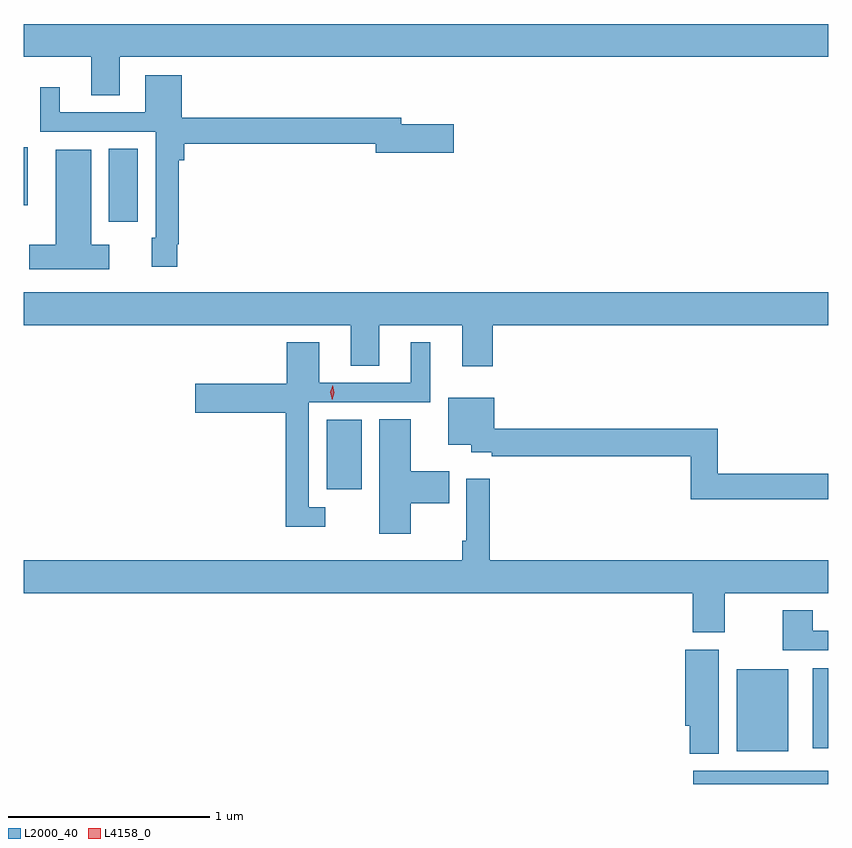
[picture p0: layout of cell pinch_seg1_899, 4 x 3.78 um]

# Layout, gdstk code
import gdstk
lib = gdstk.Library(unit=1e-6, precision=1e-09)
def R(c, l, rs):  # rectangles x0, y0, x1, y1
    for r in rs: c.add(gdstk.rectangle(r[:2], r[2:], *l))
def P(c, l, *ps):  # polygons
    for p in ps: c.add(gdstk.Polygon(p, *l))
L2000_40 = (2000, 40)
L4158_0 = (4158, 0)

pinch_seg1_899 = lib.new_cell('pinch_seg1_899')
R(pinch_seg1_899, L2000_40, [(307.449,534.799,308.12,534.864), (307.664,534.962,307.921,535.369), (308.042,534.977,308.12,535.375), (305.627,536.264,305.8,536.608), (304.544,537.594,304.687,537.956), (304.12,537.674,304.141,537.964)])
P(pinch_seg1_899, L2000_40, [(304.597,538.412),(308.12,538.412),(308.12,538.576),(304.12,538.576),(304.12,538.412),(304.457,538.412),(304.457,538.222),(304.597,538.222)],
  [(304.885,537.481),(304.892,537.481),(304.892,537.899),(304.919,537.899),(304.919,537.982),(305.87,537.982),(305.87,537.935),(306.259,537.935),(306.259,538.077),(305.998,538.077),(305.998,538.111),(304.906,538.111),(304.906,538.321),(304.724,538.321),(304.724,538.137),(304.3,538.137),(304.3,538.261),(304.202,538.261),(304.202,538.041),(304.776,538.041),(304.776,537.513),(304.757,537.513),(304.757,537.369),(304.885,537.369)],
  [(304.546,537.478),(304.456,537.478),(304.456,537.952),(304.28,537.952),(304.28,537.478),(304.149,537.478),(304.149,537.356),(304.546,537.356)],
  [(306.452,537.08),(308.12,537.08),(308.12,537.244),(304.12,537.244),(304.12,537.08),(305.747,537.08),(305.747,536.878),(305.887,536.878),(305.887,537.08),(306.299,537.08),(306.299,536.874),(306.452,536.874)],
  [(305.62,536.175),(305.538,536.175),(305.538,536.697),(306.142,536.697),(306.142,536.995),(306.044,536.995),(306.044,536.793),(305.59,536.793),(305.59,536.995),(305.429,536.995),(305.429,536.787),(304.974,536.787),(304.974,536.645),(305.422,536.645),(305.422,536.078),(305.62,536.078)],
  [(308.12,536.342),(307.571,536.342),(307.571,536.564),(306.46,536.564),(306.46,536.719),(306.23,536.719),(306.23,536.486),(306.344,536.486),(306.344,536.447),(306.448,536.447),(306.448,536.428),(307.435,536.428),(307.435,536.214),(308.12,536.214)],
  [(306.043,536.195),(306.236,536.195),(306.236,536.353),(306.043,536.353),(306.043,536.612),(305.888,536.612),(305.888,536.043),(306.043,536.043)],
  [(307.605,535.748),(308.12,535.748),(308.12,535.912),(306.437,535.912),(306.437,536.317),(306.321,536.317),(306.321,536.008),(306.301,536.008),(306.301,535.912),(304.12,535.912),(304.12,535.748),(307.445,535.748),(307.445,535.554),(307.605,535.554)],
  [(308.12,535.56),(308.041,535.56),(308.041,535.663),(307.894,535.663),(307.894,535.464),(308.12,535.464)],
  [(307.576,535.465),(307.409,535.465),(307.409,535.089),(307.43,535.089),(307.43,534.949),(307.576,534.949)])
P(pinch_seg1_899, L4158_0, [(305.653,536.709),(305.653,536.709),(305.645,536.745),(305.657,536.781),(305.657,536.781),(305.657,536.781),(305.665,536.744),(305.654,536.709)])

lib.write_gds('pinch_seg1_899.gds')
